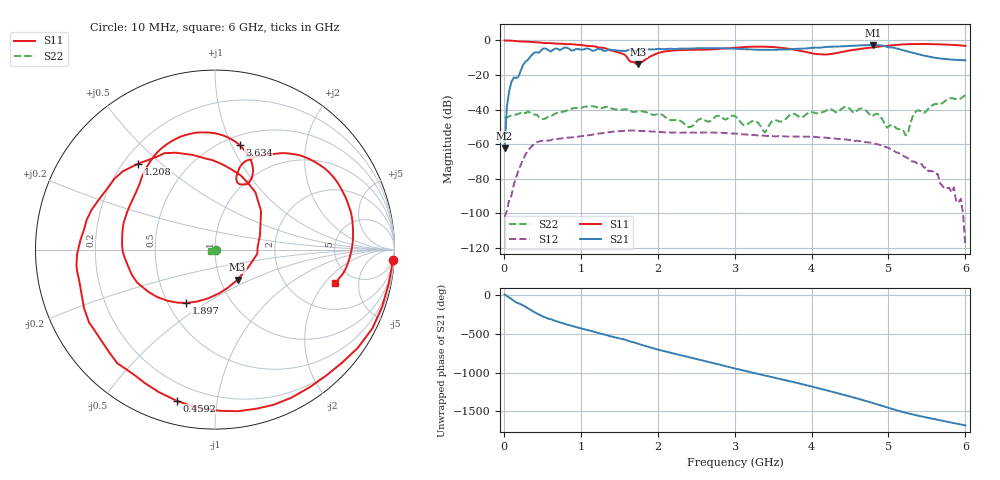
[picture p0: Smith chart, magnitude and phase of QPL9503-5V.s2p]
!  13.04.2021  19:06:38
! Ref Plane: 0,000 mm
# MHZ S MA R  50
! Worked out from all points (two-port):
!   201 points, 10 MHz to 6 GHz, reference 50 ohm
!   highest |S21| = -2.72 dB at 4.802 GHz (marker M1); lowest = -62.3 dB at 10 MHz (marker M2)
!   |S21| within 3 dB of the highest: 632 MHz to 874.5 MHz (242.5 MHz wide, 32.2 % of centre); 1.733 GHz to 5.188 GHz (3.455 GHz wide, 99.8 % of centre)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
!   lowest |S11| = -13.6 dB at 1.747 GHz (marker M3), VSWR 1.53, Z = 60.3 - j21.2 ohm
!   |S11| at or under -10 dB: 1.604 GHz to 1.877 GHz (272.4 MHz wide, 15.6 % of centre)
!   |S22| runs from -54.8 to -31.7 dB; largest |S21 - S12| = 0.73
!   S11 on the Smith chart (normalised r, x): 10 MHz: 4, -35; 459.2 MHz: 0.11, -0.77; 1.208 GHz: 0.26, +0.42; 1.897 GHz: 0.62, -0.41; 3.634 GHz: 0.59, +1.07; 6 GHz: 3.61, -2.60
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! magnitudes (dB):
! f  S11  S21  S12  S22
! 10 MHz  -0.1  -62.3  -102.0  -44.6
! 39.95 MHz  -0.1  -38.2  -98.5  -44.5
! 99.85 MHz  -0.2  -23.9  -89.6  -43.4
! 459.2 MHz  -1.2  -7.1  -58.4  -44.4
! 1.028 GHz  -2.8  -5.3  -55.2  -38.7
! 1.208 GHz  -3.8  -5.1  -54.0  -38.6
! 1.747 GHz  -13.6  -5.6  -52.3  -41.1
! 1.897 GHz  -9.5  -5.2  -52.6  -42.4
! 2.017 GHz  -7.2  -4.9  -52.9  -42.5
! 2.406 GHz  -5.5  -4.7  -53.3  -50.2
! 3.005 GHz  -4.2  -4.9  -53.9  -43.8
! 3.394 GHz  -3.7  -5.5  -55.2  -53.2
! 3.484 GHz  -3.8  -5.5  -55.3  -46.8
! 3.634 GHz  -4.5  -5.3  -55.4  -46.4
! 4.023 GHz  -7.7  -4.3  -55.7  -41.6
! 4.443 GHz  -6.3  -3.3  -57.3  -38.4
! 4.802 GHz  -4.1  -2.7  -59.4  -43.5
! 5.012 GHz  -3.0  -4.1  -62.5  -49.5
! 5.221 GHz  -2.3  -6.1  -67.4  -54.8
! 5.371 GHz  -2.1  -7.9  -71.1  -40.6
! 5.671 GHz  -2.3  -10.4  -82.6  -36.9
! 6 GHz  -3.1  -11.5  -119.0  -31.7
